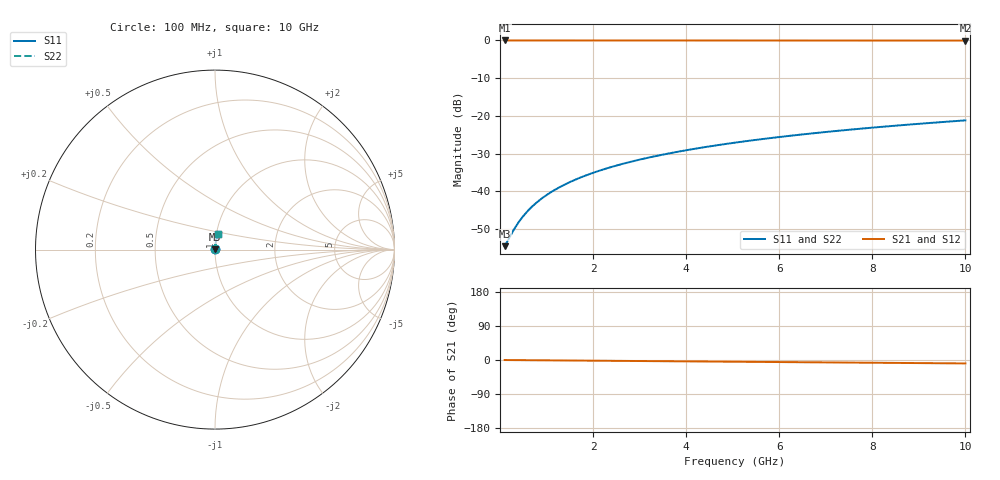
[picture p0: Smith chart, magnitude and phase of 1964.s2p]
# Hz S RI R 50.00
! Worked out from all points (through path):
!   100 points, 100 MHz to 10 GHz, reference 50 ohm
!   highest |S21| = -0.01 dB at 100 MHz (marker M1); lowest = 0.0 dB at 10 GHz (marker M2)
!   group delay of S21, straight-line fit = 2.51 ps
!   lowest |S11| = -54.6 dB at 100 MHz (marker M3), VSWR 1.00, Z = 50.2 + j0.0873 ohm
!   |S11| at or under -10 dB: start of sweep to end of sweep
!   |S22| runs from -54.6 to -21.2 dB; largest |S21 - S12| = 0
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1e8  0.00165 0.00087  0.9983 -0.00157  0.9983 -0.00157  0.00165 0.00087
3e8  0.00168 0.00261  0.9983 -0.00472  0.9983 -0.00472  0.00168 0.00261
4e8  0.0017 0.00348  0.9983 -0.0063  0.9983 -0.0063  0.0017 0.00348
5e8  0.00172 0.00435  0.9983 -0.00787  0.9983 -0.00787  0.00172 0.00435
6e8  0.00174 0.00522  0.9982 -0.00944  0.9982 -0.00944  0.00174 0.00522
7e8  0.00176 0.00609  0.9982 -0.011  0.9982 -0.011  0.00176 0.00609
8e8  0.00178 0.00696  0.9982 -0.0126  0.9982 -0.0126  0.00178 0.00696
9e8  0.00181 0.00783  0.9982 -0.0142  0.9982 -0.0142  0.00181 0.00783
1e9  0.00184 0.0087  0.9981 -0.0157  0.9981 -0.0157  0.00184 0.0087
1.2e9  0.00191 0.0104  0.998 -0.0189  0.998 -0.0189  0.00191 0.0104
1.5e9  0.00202 0.013  0.9979 -0.0236  0.9979 -0.0236  0.00202 0.013
1.8e9  0.00217 0.0157  0.9977 -0.0283  0.9977 -0.0283  0.00217 0.0157
2.1e9  0.00233 0.0183  0.9975 -0.033  0.9975 -0.033  0.00233 0.0183
2.5e9  0.00259 0.0217  0.9972 -0.0393  0.9972 -0.0393  0.00259 0.0217
2.9e9  0.0029 0.0252  0.9969 -0.0456  0.9969 -0.0456  0.0029 0.0252
3.4e9  0.00334 0.0295  0.9964 -0.0535  0.9964 -0.0535  0.00334 0.0295
4.2e9  0.00418 0.0364  0.9953 -0.066  0.9953 -0.066  0.00418 0.0364
5.1e9  0.00534 0.0442  0.994 -0.0801  0.994 -0.0801  0.00534 0.0442
5.9e9  0.00656 0.051  0.9925 -0.0927  0.9925 -0.0927  0.00656 0.051
6.7e9  0.00794 0.0579  0.9909 -0.1051  0.9909 -0.1051  0.00794 0.0579
8.4e9  0.0115 0.0722  0.9867 -0.1316  0.9867 -0.1316  0.0115 0.0722
1e10  0.0155 0.0856  0.9819 -0.1563  0.9819 -0.1563  0.0155 0.0856
